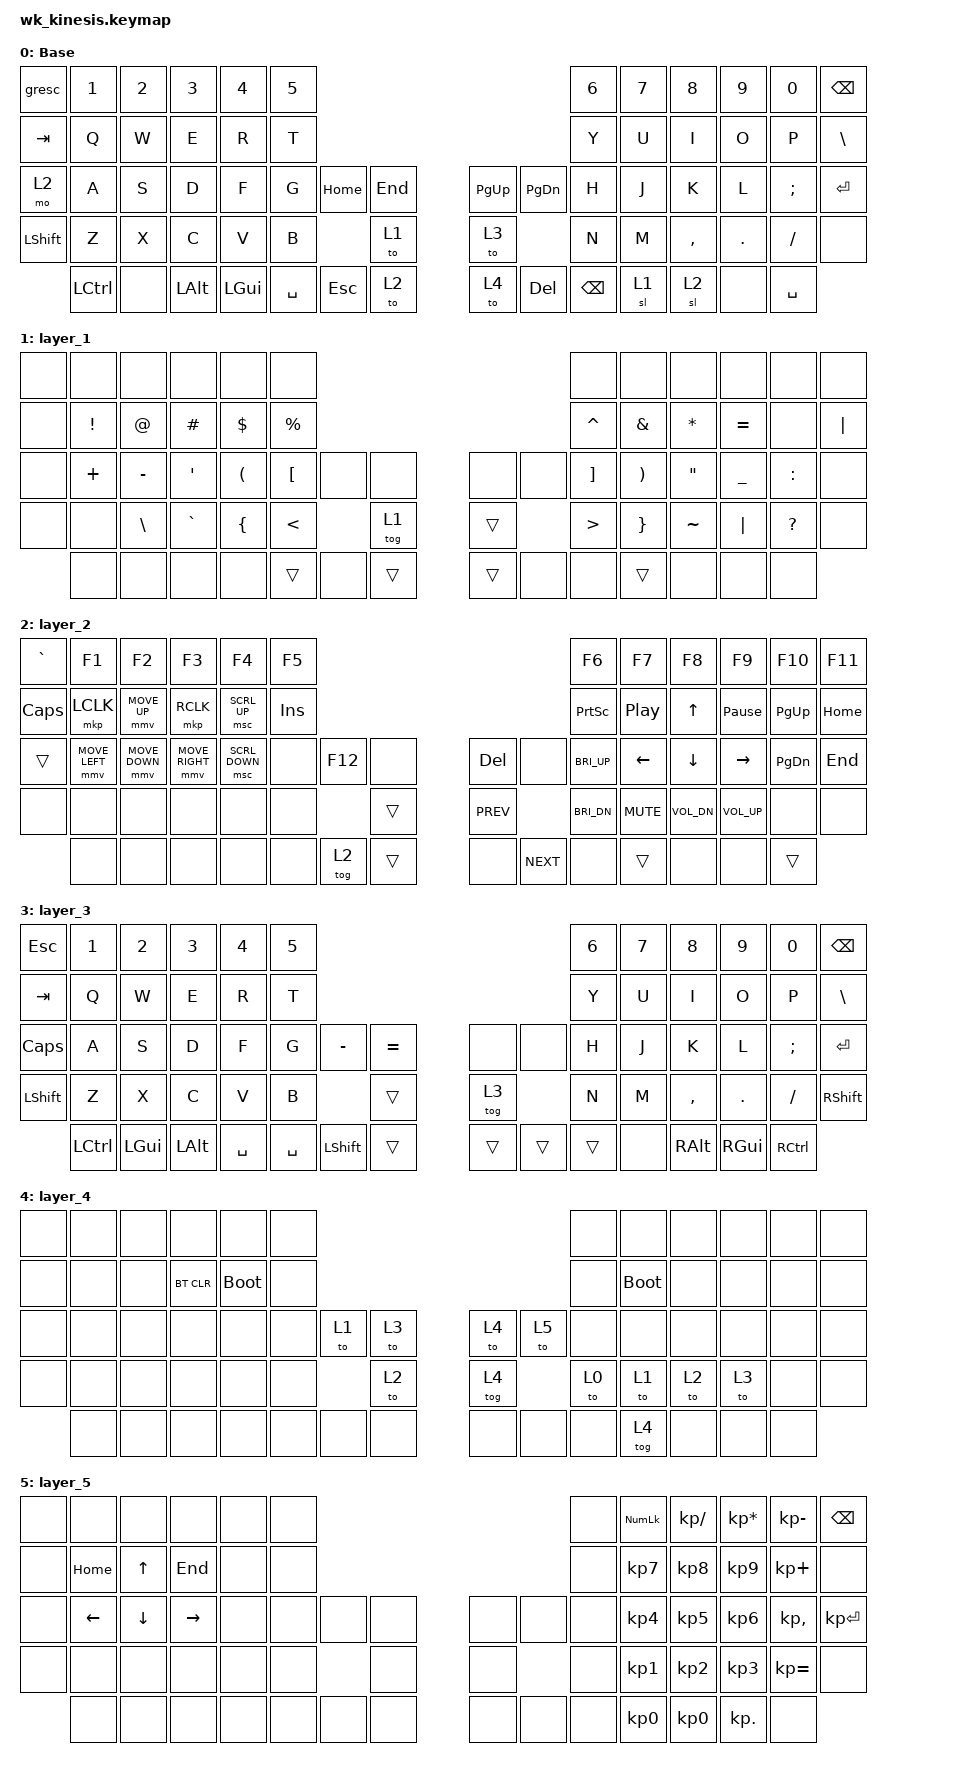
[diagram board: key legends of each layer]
#include <behaviors.dtsi>
#include <dt-bindings/zmk/bt.h>
#include <dt-bindings/zmk/keys.h>
#include <dt-bindings/zmk/rgb.h>

#define ZMK_POINTING_DEFAULT_MOVE_VAL 1500  // default: 600
#define ZMK_POINTING_DEFAULT_SCRL_VAL 20    // default: 10

#include <dt-bindings/zmk/pointing.h>
#include <dt-bindings/zmk/outputs.h>
#include <dt-bindings/zmk/ext_power.h>

/ {
    behaviors {
        hm: homerow_mods {
            compatible = "zmk,behavior-hold-tap";
            label = "HOMEROW_MODS";
            #binding-cells = <2>;
            tapping-term-ms = <200>;
            quick_tap_ms = <175>;
            flavor = "tap-preferred";
            bindings = <&kp>, <&kp>;
        };
    };

    keymap {
        compatible = "zmk,keymap";

        default_layer {
            display-name = "Base";
            bindings = <
&gresc    &kp N1    &kp N2    &kp N3    &kp N4    &kp N5                                                                    &kp N6    &kp N7    &kp N8    &kp N9    &kp N0    &kp BSPC
&kp TAB   &kp Q     &kp W     &kp E     &kp R     &kp T                                                                     &kp Y     &kp U     &kp I     &kp O     &kp P     &kp BSLH
&mo 2     &kp A     &kp S     &kp D     &kp F     &kp G      &kp HOME  &kp END                  &kp PG_UP &kp PG_DN         &kp H     &kp J     &kp K     &kp L     &kp SEMI  &kp RET
&kp LSHFT &kp Z     &kp X     &kp C     &kp V     &kp B                &to 1                    &to 3                       &kp N     &kp M     &kp COMMA &kp DOT   &kp FSLH  &none
          &kp LCTRL &none     &kp LALT  &kp LGUI             &kp SPACE &kp ESC   &to 2          &to 4     &kp DEL   &kp BSPC          &sl 1     &sl 2     &none     &kp SPACE
            >;
        };

        layer_1 {
            bindings = <
&none     &none     &none     &none     &none     &none                                                                     &none     &none     &none     &none     &none     &none
&none     &kp EXCL  &kp AT    &kp HASH  &kp DLLR  &kp PRCNT                                                                 &kp CARET &kp AMPS  &kp STAR  &kp EQUAL &none     &kp PIPE
&none     &kp PLUS  &kp MINUS &kp SQT   &kp LPAR  &kp LBKT   &none     &none                    &none     &none             &kp RBKT  &kp RPAR  &kp DQT   &kp UNDER &kp COLON &none
&none     &none     &kp BSLH  &kp GRAVE &kp LBRC  &kp LT               &tog 1                   &trans                      &kp GT    &kp RBRC  &kp TILDE &kp PIPE  &kp QMARK &none
          &none     &none     &none     &none                &trans    &none     &trans         &trans    &none     &none             &trans    &none     &none     &none
            >;
        };

        layer_2 {
            bindings = <
&kp GRAVE &kp F1         &kp F2         &kp F3          &kp F4         &kp F5                                                                    &kp F6       &kp F7       &kp F8       &kp F9       &kp F10      &kp F11
&kp CAPS  &mkp LCLK      &mmv MOVE_UP   &mkp RCLK       &msc SCRL_UP   &kp INS                                                                   &kp PSCRN    &kp C_PP     &kp UP       &kp PAUSE_BREAK &kp PG_UP &kp HOME
&trans    &mmv MOVE_LEFT &mmv MOVE_DOWN &mmv MOVE_RIGHT &msc SCRL_DOWN &none      &kp F12      &none              &kp DEL      &none             &kp C_BRI_UP &kp LEFT     &kp DOWN     &kp RIGHT    &kp PG_DN    &kp END
&none     &none          &none          &none           &none          &none                   &trans             &kp C_PREV                     &kp C_BRI_DN &kp C_MUTE   &kp C_VOL_DN &kp C_VOL_UP &none        &none
          &none          &none          &none           &none                     &none &tog 2 &trans             &none        &kp C_NEXT &none               &trans       &none        &none        &trans
            >;
        };

        layer_3 {
            bindings = <
&kp ESC   &kp N1    &kp N2    &kp N3    &kp N4    &kp N5                                                                    &kp N6    &kp N7    &kp N8    &kp N9    &kp N0    &kp BSPC
&kp TAB   &kp Q     &kp W     &kp E     &kp R     &kp T                                                                     &kp Y     &kp U     &kp I     &kp O     &kp P     &kp BSLH
&kp CAPS  &kp A     &kp S     &kp D     &kp F     &kp G      &kp MINUS &kp EQUAL              &none     &none               &kp H     &kp J     &kp K     &kp L     &kp SEMI  &kp RET
&kp LSHFT &kp Z     &kp X     &kp C     &kp V     &kp B                &trans                   &tog 3                      &kp N     &kp M     &kp COMMA &kp DOT   &kp FSLH  &kp RSHFT
          &kp LCTRL &kp LGUI  &kp LALT  &kp SPACE            &kp SPACE &kp LSHFT &trans         &trans    &trans    &trans            &none     &kp RALT  &kp RGUI  &kp RCTRL
            >;
        };

        layer_4 {
            bindings = <
&none     &none     &none     &none     &none      &none                                                                    &none     &none     &none     &none     &none     &none
&none     &none     &none     &bt BT_CLR &bootloader &none                                                                  &none     &bootloader &none   &none     &none     &none
&none     &none     &none     &none     &none      &none     &to 1     &to 3                  &to 4     &to 5             &none     &none     &none     &none     &none     &none
&none     &none     &none     &none     &none      &none               &to 2                  &tog 4                      &to 0     &to 1     &to 2     &to 3     &none     &none
          &none     &none     &none     &none                &none     &none     &none        &none     &none     &none             &tog 4    &none     &none     &none
            >;
        };

        layer_5 {
            bindings = <
&none     &none     &none     &none     &none     &none                                                                     &none     &kp KP_NUM &kp KP_DIVIDE &kp KP_MULTIPLY &kp KP_MINUS &kp BSPC
&none     &kp HOME  &kp UP    &kp END   &none     &none                                                                     &none     &kp KP_N7  &kp KP_N8     &kp KP_N9       &kp KP_PLUS  &none
&none     &kp LEFT  &kp DOWN  &kp RIGHT &none     &none      &none     &none                  &none     &none               &none     &kp KP_N4  &kp KP_N5     &kp KP_N6       &kp KP_COMMA &kp KP_ENTER
&none     &none     &none     &none     &none     &none                &none                  &none                       &none     &kp KP_N1  &kp KP_N2     &kp KP_N3       &kp KP_EQUAL &none
          &none     &none     &none     &none                &none     &none     &none        &none     &none     &none             &kp KP_N0  &kp KP_N0     &kp KP_DOT      &none
            >;
        };
    };
};
